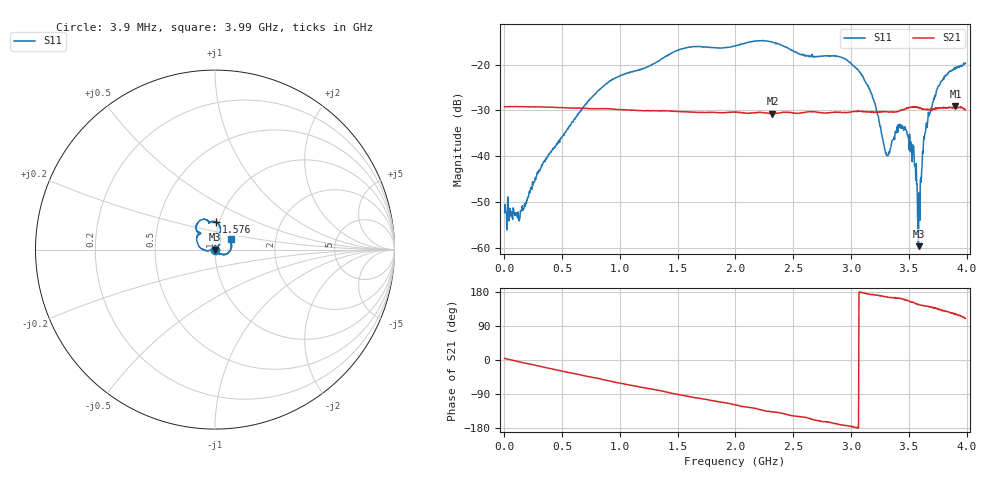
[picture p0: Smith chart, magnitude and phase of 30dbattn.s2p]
# HZ S RI R 50
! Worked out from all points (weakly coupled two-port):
!   1023 points, 3.9 MHz to 3.99 GHz, reference 50 ohm
!   highest |S21| = -29.10 dB at 3.904 GHz (marker M1); lowest = -30.7 dB at 2.321 GHz (marker M2)
!   lowest |S11| = -59.6 dB at 3.584 GHz (marker M3), VSWR 1.00, Z = 50.1 + j0.00438 ohm
!   |S11| at or under -10 dB: start of sweep to end of sweep
!   S12 and S22 are empty: the file has one direction only
!   S11 on the Smith chart (normalised r, x): 3.9 MHz: 1.00, +0.00; 1.576 GHz: 0.96, +0.30; 3.99 GHz: 1.18, +0.14
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3900000  -0.00243 3.63e-05  0.0346 0.00244  0 0  0 0
1.326e8  -0.00128 0.00162  0.0346 -0.00303  0 0  0 0
3.393e8  0.00313 0.00796  0.0326 -0.0111  0 0  0 0
6.708e8  0.0212 0.0243  0.0256 -0.0215  0 0  0 0
9.282e8  0.0309 0.0603  0.0183 -0.0274  0 0  0 0
1.3338e9  0.0313 0.105  0.00539 -0.0309  0 0  0 0
1.5756e9  0.00568 0.1529  -0.00267 -0.0304  0 0  0 0
1.9968e9  -0.036 0.1554  -0.0142 -0.027  0 0  0 0
2.3205e9  -0.0978 0.1463  -0.0213 -0.02  0 0  0 0
2.6637e9  -0.0859 0.0969  -0.0278 -0.0123  0 0  0 0
3.0732e9  -0.0821 0.011  -0.0309 0.000206  0 0  0 0
3.1902e9  -0.0421 -0.00745  -0.0302 0.00421  0 0  0 0
3.3267e9  -0.00574 0.00958  -0.0294 0.00763  0 0  0 0
3.4632e9  -0.000344 0.0196  -0.0305 0.0116  0 0  0 0
3.5373e9  0.000441 0.0116  -0.0309 0.0161  0 0  0 0
3.5841e9  0.00104 4.37e-05  -0.0287 0.0189  0 0  0 0
3.5958e9  0.00195 -0.000418  -0.0274 0.0189  0 0  0 0
3.6387e9  0.0103 -0.0144  -0.0259 0.0197  0 0  0 0
3.6855e9  0.0207 -0.0217  -0.0247 0.0212  0 0  0 0
3.7635e9  0.0531 -0.0268  -0.0228 0.0243  0 0  0 0
3.9039e9  0.0921 0.0131  -0.0177 0.0303  0 0  0 0
3.9897e9  0.0869 0.057  -0.0106 0.0303  0 0  0 0
